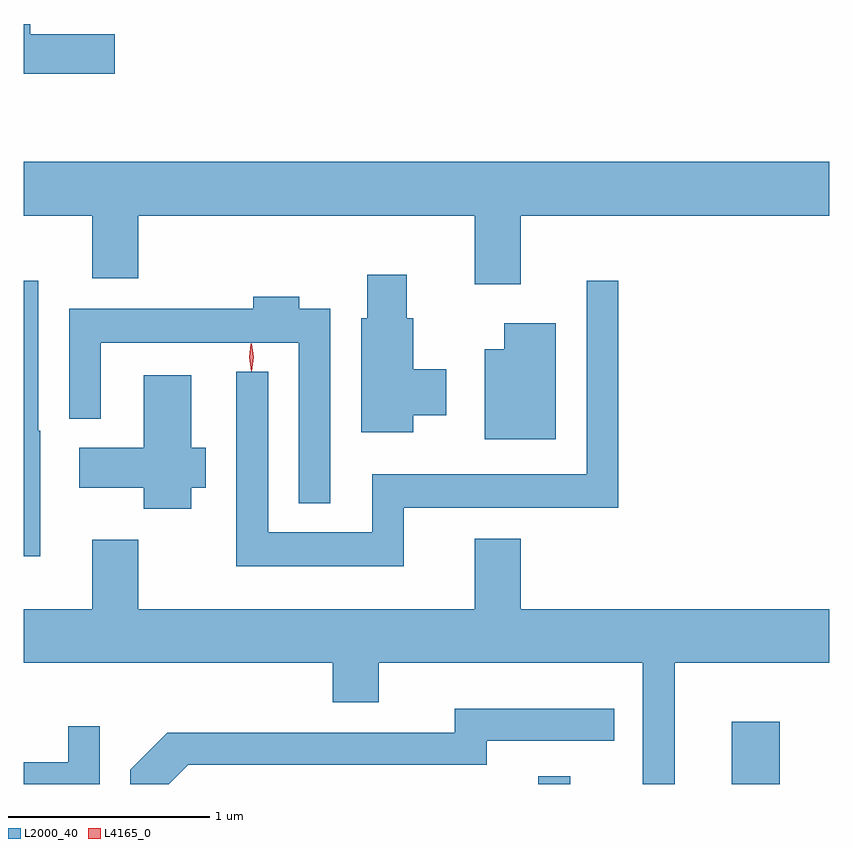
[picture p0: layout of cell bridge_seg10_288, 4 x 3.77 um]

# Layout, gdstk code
import gdstk
lib = gdstk.Library(unit=1e-6, precision=1e-09)
def R(c, l, rs):  # rectangles x0, y0, x1, y1
    for r in rs: c.add(gdstk.rectangle(r[:2], r[2:], *l))
def P(c, l, *ps):  # polygons
    for p in ps: c.add(gdstk.Polygon(p, *l))
L2000_40 = (2000, 40)
L4165_0 = (4165, 0)

bridge_seg10_288 = lib.new_cell('bridge_seg10_288')
R(bridge_seg10_288, L2000_40, [(1446.026,2166.595,1446.184,2166.633), (1446.986,2166.595,1447.224,2166.904)])
P(bridge_seg10_288, L2000_40, [(1443.924,2170.319),(1443.504,2170.319),(1443.504,2170.369),(1443.471,2170.369),(1443.471,2170.121),(1443.924,2170.121)],
  [(1445.939,2169.416),(1447.471,2169.416),(1447.471,2169.684),(1443.471,2169.684),(1443.471,2169.416),(1443.811,2169.416),(1443.811,2169.106),(1444.039,2169.106),(1444.039,2169.416),(1445.711,2169.416),(1445.711,2169.076),(1445.939,2169.076)],
  [(1445.404,2168.426),(1445.569,2168.426),(1445.569,2168.654),(1445.404,2168.654),(1445.404,2168.909),(1445.374,2168.909),(1445.374,2169.124),(1445.176,2169.124),(1445.176,2168.909),(1445.146,2168.909),(1445.146,2168.341),(1445.404,2168.341)],
  [(1443.554,2168.35),(1443.544,2168.35),(1443.544,2169.093),(1443.471,2169.093),(1443.471,2167.726),(1443.554,2167.726)],
  [(1445.359,2167.966),(1446.424,2167.966),(1446.424,2169.093),(1446.266,2169.093),(1446.266,2168.134),(1445.201,2168.134),(1445.201,2167.844),(1444.684,2167.844),(1444.684,2168.643),(1444.526,2168.643),(1444.526,2167.676),(1445.359,2167.676)],
  [(1444.994,2168.954),(1444.839,2168.954),(1444.839,2169.014),(1444.611,2169.014),(1444.611,2168.954),(1443.696,2168.954),(1443.696,2168.408),(1443.854,2168.408),(1443.854,2168.786),(1444.836,2168.786),(1444.836,2167.988),(1444.994,2167.988)],
  [(1446.114,2168.884),(1445.856,2168.884),(1445.856,2168.754),(1445.761,2168.754),(1445.761,2168.306),(1446.114,2168.306)],
  [(1444.304,2168.066),(1444.374,2168.066),(1444.374,2168.264),(1444.304,2168.264),(1444.304,2168.624),(1444.066,2168.624),(1444.066,2168.264),(1443.746,2168.264),(1443.746,2168.066),(1444.066,2168.066),(1444.066,2167.961),(1444.304,2167.961)],
  [(1446.704,2167.196),(1447.471,2167.196),(1447.471,2167.464),(1445.939,2167.464),(1445.939,2167.814),(1445.711,2167.814),(1445.711,2167.464),(1444.039,2167.464),(1444.039,2167.809),(1443.811,2167.809),(1443.811,2167.464),(1443.471,2167.464),(1443.471,2167.196),(1445.006,2167.196),(1445.006,2167.001),(1445.234,2167.001),(1445.234,2167.196),(1446.546,2167.196),(1446.546,2166.595),(1446.704,2166.595)],
  [(1444.287,2166.691),(1445.769,2166.691),(1445.769,2166.811),(1446.403,2166.811),(1446.403,2166.969),(1445.611,2166.969),(1445.611,2166.849),(1444.184,2166.849),(1444.001,2166.667),(1444.001,2166.595),(1444.19,2166.595)],
  [(1443.849,2166.883),(1443.691,2166.883),(1443.691,2166.704),(1443.471,2166.704),(1443.471,2166.595),(1443.849,2166.595)])
P(bridge_seg10_288, L4165_0, [(1444.601,2168.644),(1444.592,2168.713),(1444.601,2168.782),(1444.602,2168.782),(1444.602,2168.782),(1444.612,2168.713),(1444.602,2168.644),(1444.602,2168.644)],
  [(1444.6,2168.647),(1444.6,2168.647),(1444.59,2168.713),(1444.599,2168.78),(1444.599,2168.78),(1444.6,2168.78),(1444.61,2168.713),(1444.601,2168.647)])

lib.write_gds('bridge_seg10_288.gds')
